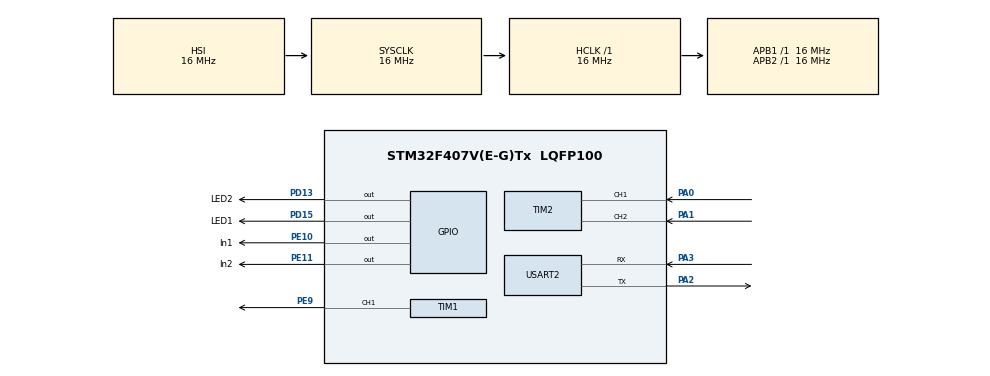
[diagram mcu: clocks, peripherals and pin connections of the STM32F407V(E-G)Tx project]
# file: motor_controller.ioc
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Mcu.Family=STM32F4
Mcu.Name=STM32F407V(E-G)Tx
Mcu.Package=LQFP100
NVIC.PriorityGroup=NVIC_PRIORITYGROUP_4
NVIC.TIM6_DAC_IRQn=true\:0\:0\:false\:false\:true\:true\:true\:true
NVIC.TIM7_IRQn=true\:0\:0\:false\:false\:true\:true\:true\:true
PA0-WKUP.Signal=S_TIM2_CH1_ETR
PA1.Signal=S_TIM2_CH2
PA2.Mode=Asynchronous
PA2.Signal=USART2_TX
PA3.Mode=Asynchronous
PA3.Signal=USART2_RX
PD13.GPIO_Label=LED2
PD13.Signal=GPIO_Output
PD15.GPIO_Label=LED1
PD15.Signal=GPIO_Output
PE10.GPIO_Label=In1
PE10.GPIO_PuPd=GPIO_NOPULL
PE10.Signal=GPIO_Output
PE11.GPIO_Label=In2
PE11.GPIO_PuPd=GPIO_NOPULL
PE11.Signal=GPIO_Output
PE9.Signal=S_TIM1_CH1
ProjectManager.HeapSize=0x200
ProjectManager.StackSize=0x400
ProjectManager.TargetToolchain=STM32CubeIDE
RCC.AHBFreq_Value=16000000
RCC.APB1Freq_Value=16000000
RCC.APB2Freq_Value=16000000
RCC.CortexFreq_Value=16000000
RCC.HSE_VALUE=25000000
RCC.HSI_VALUE=16000000
RCC.LSE_VALUE=32768
RCC.SYSCLKFreq_VALUE=16000000
RCC.VCOOutputFreq_Value=192000000
SH.S_TIM1_CH1.0=TIM1_CH1,PWM Generation1 CH1
SH.S_TIM2_CH1_ETR.0=TIM2_CH1,Encoder_Interface
SH.S_TIM2_CH2.0=TIM2_CH2,Encoder_Interface
TIM1.Channel-PWM\ Generation1\ CH1=TIM_CHANNEL_1
TIM1.Period=99
TIM1.Prescaler=6
TIM6.Prescaler=159
TIM7.Period=39999
TIM7.Prescaler=3
USART2.VirtualMode=VM_ASYNC
VP_TIM1_VS_ClockSourceINT.Mode=Internal
VP_TIM6_VS_ClockSourceINT.Mode=Enable_Timer
VP_TIM7_VS_ClockSourceINT.Mode=Enable_Timer
board=custom

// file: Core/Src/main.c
/* USER CODE BEGIN Header */
/**
  ******************************************************************************
  * @file           : main.c
  * @brief          : Main program body
  ******************************************************************************
  * @attention
  *
  * Copyright (c) 2023 STMicroelectronics.
  * All rights reserved.
  *
  * This software is licensed under terms that can be found in the LICENSE file
  * in the root directory of this software component.
  * If no LICENSE file comes with this software, it is provided AS-IS.
  *
  ******************************************************************************
  */
/* USER CODE END Header */
#include "main.h"
#include "tim.h"
#include "usart.h"
#include "gpio.h"

/* USER CODE BEGIN Includes */
#include <stdbool.h>
#include <stdio.h>
#include "moteurCC.h"
/* USER CODE END Includes */

/* USER CODE BEGIN PD */

#define START_MSG (int8_t)(0x7E)
#define STOP_MSG (int8_t)(0x7F)
#define MIN_SPEED_CMD (int8_t)(0x9C)
#define MAX_SPEED_CMD (int8_t)(0x64)
#define ZERO_SPEED_CMD (int8_t)(0x00)

#define KP (0.5)
#define KI (10)
/* USER CODE END PD */

/* USER CODE BEGIN PV */
  bool trigger_flag_500ms = false;

  int32_t vitesse;
  int32_t previous_tick_cnt = 0;
  int32_t actual_tick_cnt;

  int8_t consigne = 0;

  int8_t error;
  int8_t integrated_error = 0;

  int8_t corrected_consigne = 0;
/* USER CODE END PV */

void SystemClock_Config(void);

/* USER CODE BEGIN 0 */

void HAL_TIM_PeriodElapsedCallback(TIM_HandleTypeDef *htim)
{
	if(htim->Instance == TIM6)
	{
	  trigger_flag_500ms = true;
	}

	else if(htim->Instance == TIM7)
	{

		  actual_tick_cnt = TIM2->CNT;

		  vitesse = (actual_tick_cnt - previous_tick_cnt)*100/52;

		  previous_tick_cnt = actual_tick_cnt;
	}
}
/* USER CODE END 0 */

int main(void)
{

  /* MCU Configuration--------------------------------------------------------*/

  /* Reset of all peripherals, Initializes the Flash interface and the Systick. */
  HAL_Init();

  /* Configure the system clock */
  SystemClock_Config();

  /* Initialize all configured peripherals */
  MX_GPIO_Init();
  MX_TIM1_Init();
  MX_USART2_UART_Init();
  MX_TIM2_Init();
  MX_TIM6_Init();
  MX_TIM7_Init();
  /* USER CODE BEGIN 2 */

  HAL_TIM_Encoder_Start(&htim2, TIM_CHANNEL_ALL);
  HAL_TIM_Base_Start_IT(&htim6);
  HAL_TIM_Base_Start_IT(&htim7);

  moteurCC_init(&htim1, TIM_CHANNEL_1);

  uint8_t MSG[15] = {0};

  //buffer conservant l'octet recu en UART
  int8_t buffer[1];

  int8_t previous_buffer[1];
  previous_buffer[0] = 0x00;

  // variable d'etat du système
  int8_t run = 1;

  /* USER CODE END 2 */

  /* Infinite loop */
  /* USER CODE BEGIN WHILE */
  while (1)
  {
	  //655ms in reality
	  if(trigger_flag_500ms)
	  {
		  //Affichage de la vitesse
		  int n = sprintf(MSG,"%d\n\r", vitesse);
		  for(; n<=sizeof(MSG);n++)MSG[n] = 0;

		  HAL_UART_Transmit(&huart2, MSG, sizeof(MSG), 100);
		  trigger_flag_500ms = false;
	  }

	  HAL_UART_Receive(&huart2, (int8_t*)buffer, sizeof(buffer), 1000);

	  if(buffer[0] == START_MSG){
	  		  run = 1;
	  	  }
	  else if(buffer[0] == STOP_MSG){
	  		  moteurCC_consigne(0);
	  		  run = 0;
	  	  }
	  else if(buffer[0] >= MIN_SPEED_CMD && buffer[0] <= ZERO_SPEED_CMD){
		  	  consigne = (int8_t)buffer[0];
	  	  }
	  else if(buffer[0] > ZERO_SPEED_CMD && buffer[0] <= MAX_SPEED_CMD){
	  		  consigne = (int8_t)buffer[0];
	  	  }

	  if(run){
		  if(buffer[0] != previous_buffer[0]){
			  moteurCC_consigne(consigne);
			  previous_buffer[0] = buffer[0];
		  }
	  }

    /* USER CODE END WHILE */

    /* USER CODE BEGIN 3 */
  }
  moteurCC_deinit();
  /* USER CODE END 3 */
}

void SystemClock_Config(void)
{
  RCC_OscInitTypeDef RCC_OscInitStruct = {0};
  RCC_ClkInitTypeDef RCC_ClkInitStruct = {0};

  /** Configure the main internal regulator output voltage
  */
  __HAL_RCC_PWR_CLK_ENABLE();
  __HAL_PWR_VOLTAGESCALING_CONFIG(PWR_REGULATOR_VOLTAGE_SCALE1);

  /** Initializes the RCC Oscillators according to the specified parameters
  * in the RCC_OscInitTypeDef structure.
  */
  RCC_OscInitStruct.OscillatorType = RCC_OSCILLATORTYPE_HSI;
  RCC_OscInitStruct.HSIState = RCC_HSI_ON;
  RCC_OscInitStruct.HSICalibrationValue = RCC_HSICALIBRATION_DEFAULT;
  RCC_OscInitStruct.PLL.PLLState = RCC_PLL_NONE;
  if (HAL_RCC_OscConfig(&RCC_OscInitStruct) != HAL_OK)
  {
    Error_Handler();
  }

  /** Initializes the CPU, AHB and APB buses clocks
  */
  RCC_ClkInitStruct.ClockType = RCC_CLOCKTYPE_HCLK|RCC_CLOCKTYPE_SYSCLK
                              |RCC_CLOCKTYPE_PCLK1|RCC_CLOCKTYPE_PCLK2;
  RCC_ClkInitStruct.SYSCLKSource = RCC_SYSCLKSOURCE_HSI;
  RCC_ClkInitStruct.AHBCLKDivider = RCC_SYSCLK_DIV1;
  RCC_ClkInitStruct.APB1CLKDivider = RCC_HCLK_DIV1;
  RCC_ClkInitStruct.APB2CLKDivider = RCC_HCLK_DIV1;

  if (HAL_RCC_ClockConfig(&RCC_ClkInitStruct, FLASH_LATENCY_0) != HAL_OK)
  {
    Error_Handler();
  }
}

void Error_Handler(void)
{
  __disable_irq();
  while (1)
  {
  }
}
